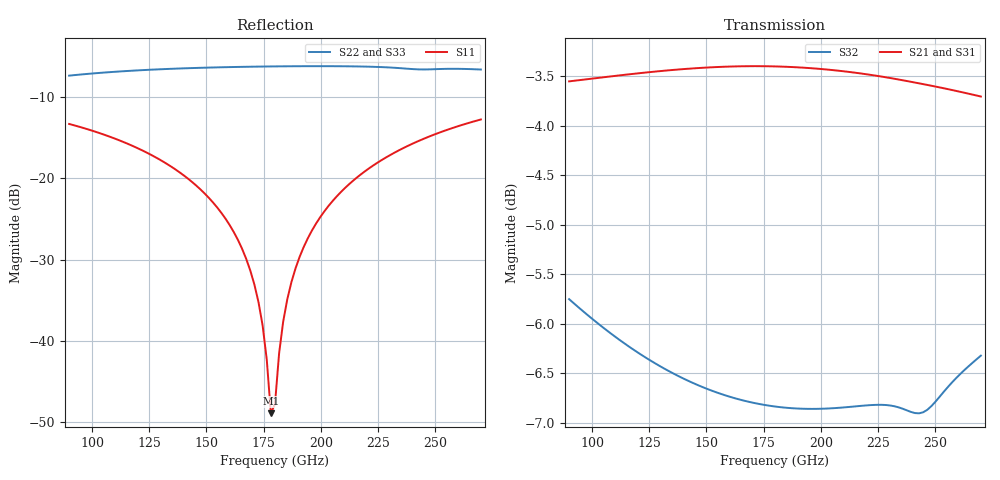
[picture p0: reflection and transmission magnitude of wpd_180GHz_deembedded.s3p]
! Created with skrf 2.2.0 (http://scikit-rf.org).
# GHz S DB R 50.0
! Port[1] = P1
! Port[2] = P2
! Port[3] = P3
!freq dBS11 angS11 dBS12 angS12 dBS13 angS13
! dBS21 angS21 dBS22 angS22 dBS23 angS23
! dBS31 angS31 dBS32 angS32 dBS33 angS33
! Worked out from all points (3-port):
!   101 points, 90 GHz to 270 GHz, reference 50 ohm
!   strongest paths, dB at 90 GHz, 135 GHz, 180 GHz, 225 GHz, 270 GHz:
!     S21: -3.6, -3.4, -3.4, -3.5, -3.7
!     S31: -3.6, -3.4, -3.4, -3.5, -3.7
!     S32: -5.7, -6.5, -6.8, -6.8, -6.3
!   lowest |S11| = -48.9 dB at 178.2 GHz (marker M1), VSWR 1.01, Z = 50.3 + j0.242 ohm
!   |S11| at or under -10 dB: start of sweep to end of sweep
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90  -13.30 137.2  -3.55 -43.1  -3.56 -43.2
    -3.55 -43.1  -7.36 51.8  -5.75 -96.8
    -3.56 -43.2  -5.75 -96.8  -7.35 51.8
131.4  -17.99 117.4  -3.44 -63.7  -3.45 -63.7
       -3.44 -63.7  -6.55 22.7  -6.45 -135.0
       -3.45 -63.7  -6.45 -135.0  -6.55 22.6
158.4  -24.98 102.9  -3.40 -77.4  -3.41 -77.4
       -3.40 -77.4  -6.32 7.2  -6.72 -159.1
       -3.41 -77.4  -6.72 -159.1  -6.31 7.1
172.8  -35.25 89.3  -3.40 -84.8  -3.40 -84.8
       -3.40 -84.8  -6.24 -0.5  -6.81 -171.9
       -3.40 -84.8  -6.81 -171.9  -6.24 -0.6
178.2  -48.92 42.2  -3.40 -87.6  -3.41 -87.6
       -3.40 -87.6  -6.22 -3.4  -6.83 -176.7
       -3.41 -87.6  -6.83 -176.7  -6.22 -3.4
180  -47.75 -39.4  -3.40 -88.5  -3.41 -88.5
     -3.40 -88.5  -6.22 -4.3  -6.83 -178.3
     -3.41 -88.5  -6.83 -178.3  -6.22 -4.3
183.6  -37.59 -73.5  -3.40 -90.4  -3.41 -90.4
       -3.40 -90.4  -6.21 -6.2  -6.84 178.5
       -3.41 -90.4  -6.84 178.5  -6.21 -6.2
187.2  -32.74 -80.7  -3.41 -92.2  -3.41 -92.2
       -3.41 -92.2  -6.20 -8.0  -6.85 175.4
       -3.41 -92.2  -6.85 175.4  -6.20 -8.1
201.6  -24.05 -92.2  -3.43 -99.6  -3.44 -99.6
       -3.43 -99.6  -6.19 -15.5  -6.86 162.6
       -3.44 -99.6  -6.86 162.6  -6.19 -15.5
270  -12.75 -126.5  -3.70 -134.2  -3.71 -134.3
     -3.70 -134.2  -6.60 -53.1  -6.32 102.2
     -3.71 -134.3  -6.32 102.2  -6.60 -53.1
